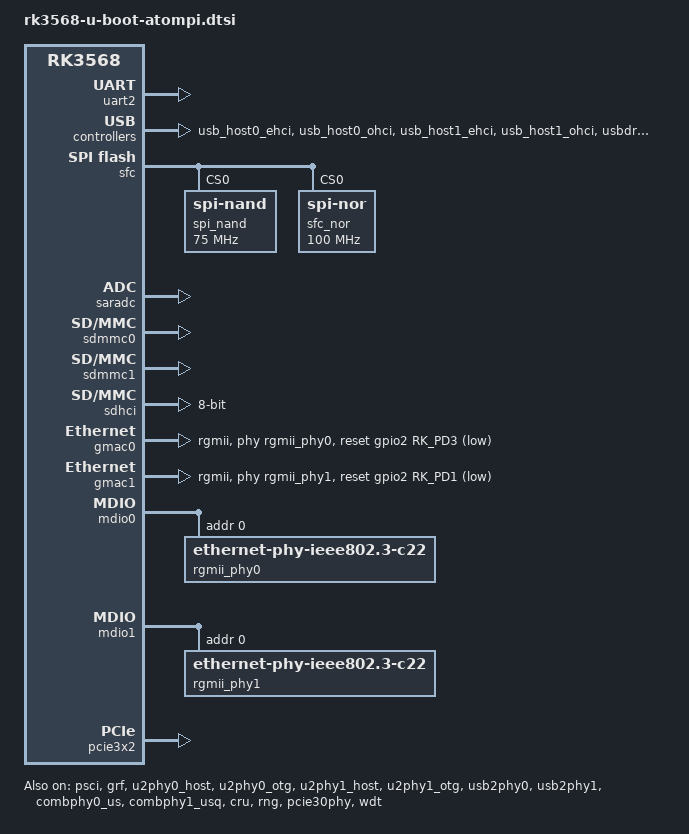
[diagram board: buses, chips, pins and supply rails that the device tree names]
/*
 * (C) Copyright 2020 Rockchip Electronics Co., Ltd
 *
 * SPDX-License-Identifier:     GPL-2.0+
 */

/ {
	aliases {
		ethernet0 = &gmac0;
		ethernet1 = &gmac1;
		mmc0 = &sdhci;
		mmc1 = &sdmmc0;
		mmc2 = &sdmmc1;
	};

	chosen {
		stdout-path = &uart2;
		u-boot,spl-boot-order = &sdmmc0, &sdhci, &spi_nand, &spi_nor;
	};

	secure-otp@fe3a0000 {
		compatible = "rockchip,rk3568-secure-otp";
		reg = <0x0 0xfe3a0000 0x0 0x4000>;
		secure_conf = <0xfdd18008>;
		mask_addr = <0xfe880000>;
		cru_rst_addr = <0xfdd20470>;
		u-boot,dm-spl;
	};

	otp: otp@fe38c000 {
		compatible = "rockchip,rk3568-otp";
		reg = <0x0 0xfe38c000 0x0 0x4000>;
		#address-cells = <1>;
		#size-cells = <1>;
		clocks = <&cru CLK_OTPC_NS_USR>, <&cru CLK_OTPC_NS_SBPI>,
			 <&cru PCLK_OTPC_NS>, <&cru PCLK_OTPPHY>;
		clock-names = "usr", "sbpi", "apb", "phy";
		resets = <&cru SRST_OTPPHY>;
		reset-names = "otp_phy";

		/* Data cells */
		cpu_code: cpu-code@2 {
			reg = <0x02 0x2>;
		};
		otp_cpu_version: cpu-version@8 {
			reg = <0x08 0x1>;
			bits = <3 3>;
		};
		mbist_vmin: mbist-vmin@9 {
			reg = <0x09 0x1>;
			bits = <0 4>;
		};
		otp_id: id@a {
			reg = <0x0a 0x10>;
		};
		cpu_leakage: cpu-leakage@1a {
			reg = <0x1a 0x1>;
		};
		log_leakage: log-leakage@1b {
			reg = <0x1b 0x1>;
		};
		npu_leakage: npu-leakage@1c {
			reg = <0x1c 0x1>;
		};
		gpu_leakage: gpu-leakage@1d {
			reg = <0x1d 0x1>;
		};
		core_pvtm:core-pvtm@2a {
			reg = <0x2a 0x2>;
		};
		cpu_tsadc_trim_l: cpu-tsadc-trim-l@2e {
			reg = <0x2e 0x1>;
		};
		cpu_tsadc_trim_h: cpu-tsadc-trim-h@2f {
			reg = <0x2f 0x1>;
			bits = <0 4>;
		};
		gpu_tsadc_trim_l: npu-tsadc-trim-l@30 {
			reg = <0x30 0x1>;
		};
		gpu_tsadc_trim_h: npu-tsadc-trim-h@31 {
			reg = <0x31 0x1>;
			bits = <0 4>;
		};
		tsadc_trim_base_frac: tsadc-trim-base-frac@31 {
			reg = <0x31 0x1>;
			bits = <4 4>;
		};
		tsadc_trim_base: tsadc-trim-base@32 {
			reg = <0x32 0x1>;
		};
		cpu_opp_info: cpu-opp-info@36 {
			reg = <0x36 0x6>;
		};
		gpu_opp_info: gpu-opp-info@3c {
			reg = <0x3c 0x6>;
		};
		npu_opp_info: npu-opp-info@42 {
			reg = <0x42 0x6>;
		};
		dmc_opp_info: dmc-opp-info@48 {
			reg = <0x48 0x6>;
		};
	};

	firmware {
		scmi: scmi {
			compatible = "arm,scmi-smc";
			shmem = <&scmi_shmem>;
			arm,smc-id = <0x82000010>;
			#address-cells = <1>;
			#size-cells = <0>;

			scmi_clk: protocol@14 {
				reg = <0x14>;
				#clock-cells = <1>;

				rockchip,clk-init = <1104000000>;
			};
		};

		sdei: sdei {
			compatible = "arm,sdei-1.0";
			method = "smc";
		};
	};

	scmi_shmem: scmi-shmem@10f000 {
		compatible = "arm,scmi-shmem";
		reg = <0x0 0x0010f000 0x0 0x100>;
	};
};

&psci {
	status = "okay";
};

&crypto {
	u-boot,dm-spl;
};

&uart2 {
	clock-frequency = <24000000>;
	u-boot,dm-spl;
	/delete-property/ pinctrl-names;
	/delete-property/ pinctrl-0;
	status = "okay";
};

&grf {
	u-boot,dm-spl;
	status = "okay";
};

&pmugrf {
	u-boot,dm-spl;
	status = "okay";
};

&u2phy0_host {
	phy-supply = <&vcc5v0_host>;
	status = "okay";
};

&u2phy0_otg {
	vbus-supply = <&vcc5v0_otg>;
	status = "okay";
};

&u2phy1_host {
	phy-supply = <&vcc5v0_host>;
	status = "okay";
};

&u2phy1_otg {
	phy-supply = <&vcc5v0_host>;
	status = "okay";
};

&usb2phy0 {
	status = "okay";
};

&usb2phy1 {
	status = "okay";
};

&usb_host0_ehci {
	status = "okay";
};

&usb_host0_ohci {
	status = "okay";
};

&usb_host1_ehci {
	status = "okay";
};

&usb_host1_ohci {
	status = "okay";
};

&usbdrd_dwc3 {
	status = "okay";
};

&usbdrd30 {
	status = "okay";
};

&usbhost_dwc3 {
	status = "okay";
};

&usbhost30 {
	status = "okay";
};

&combphy0_us {
	status = "okay";
};

&combphy1_usq {
	status = "okay";
};

&cru {
	u-boot,dm-spl;
	status = "okay";
};

&pmucru {
	u-boot,dm-spl;
	status = "okay";
};

&rng {
	
	status = "okay";
};

&sfc {
	u-boot,dm-spl;
	/delete-property/ pinctrl-names;
	/delete-property/ pinctrl-0;
	/delete-property/ assigned-clocks;
	/delete-property/ assigned-clock-rates;
	status = "okay";

	#address-cells = <1>;
	#size-cells = <0>;
	spi_nand: flash@0 {
		u-boot,dm-spl;
		compatible = "spi-nand";
		reg = <0>;
		spi-tx-bus-width = <1>;
		spi-rx-bus-width = <4>;
		spi-max-frequency = <75000000>;
	};

	spi_nor: flash@1 {
		u-boot,dm-spl;
		compatible = "jedec,spi-nor";
		label = "sfc_nor";
		reg = <0>;
		spi-tx-bus-width = <1>;
		spi-rx-bus-width = <4>;
		spi-max-frequency = <100000000>;
	};
};

&saradc {
	
	status = "okay";
};

&sdmmc0 {
	u-boot,dm-spl;
	status = "okay";
};

&sdmmc0_pins {
	u-boot,dm-spl;
};

&sdmmc0_bus4 {
	u-boot,dm-spl;
};

&sdmmc0_clk {
	u-boot,dm-spl;
};

&sdmmc0_cmd {
	u-boot,dm-spl;
};

&sdmmc0_det {
	u-boot,dm-spl;
};

&sdmmc1 {
	u-boot,dm-spl;
	/delete-property/ pinctrl-names;
	/delete-property/ pinctrl-0;
	status = "okay";
};

&sdhci {
	bus-width = <8>;
	u-boot,dm-spl;
	/delete-property/ pinctrl-names;
	/delete-property/ pinctrl-0;
	mmc-hs200-1_8v;
	status = "okay";
};

&gmac0_clkin {
	
};

&gmac1_clkin {
	
};

&gmac0 {
	
	phy-mode = "rgmii";
	clock_in_out = "output";

	snps,reset-gpio = <&gpio2 RK_PD3 GPIO_ACTIVE_LOW>;
	snps,reset-active-low;
	/* Reset time is 20ms, 100ms for rtl8211f */
	snps,reset-delays-us = <0 20000 100000>;
	assigned-clocks = <&cru SCLK_GMAC0_RX_TX>, <&cru SCLK_GMAC0>;
	assigned-clock-parents = <&cru SCLK_GMAC0_RGMII_SPEED>;
	assigned-clock-rates = <0>, <125000000>;

	pinctrl-names = "default";
	pinctrl-0 = <&gmac0_miim
		     &gmac0_tx_bus2
		     &gmac0_rx_bus2
		     &gmac0_rgmii_clk
		     &gmac0_rgmii_bus>;

	tx_delay = <0x3c>;
	rx_delay = <0x2f>;

	phy-handle = <&rgmii_phy0>;
	status = "okay";
};

&gmac1 {
	
	phy-mode = "rgmii";
	clock_in_out = "output";

	snps,reset-gpio = <&gpio2 RK_PD1 GPIO_ACTIVE_LOW>;
	snps,reset-active-low;
	/* Reset time is 20ms, 100ms for rtl8211f */
	snps,reset-delays-us = <0 20000 100000>;

	assigned-clocks = <&cru SCLK_GMAC1_RX_TX>, <&cru SCLK_GMAC1>;
	assigned-clock-parents = <&cru SCLK_GMAC1_RGMII_SPEED>;
	assigned-clock-rates = <0>, <125000000>;

	pinctrl-names = "default";
	pinctrl-0 = <&gmac1m1_miim
		     &gmac1m1_tx_bus2
		     &gmac1m1_rx_bus2
		     &gmac1m1_rgmii_clk
		     &gmac1m1_rgmii_bus>;

	tx_delay = <0x4f>;
	rx_delay = <0x26>;

	phy-handle = <&rgmii_phy1>;
	status = "okay";
};

&gmac0_stmmac_axi_setup {
	
};

&gmac0_mtl_rx_setup {
	
	queue0 {
		
	};
};

&gmac0_mtl_tx_setup {
	
	queue0 {
		
	};
};

&gmac1_stmmac_axi_setup {
	
};

&gmac1_mtl_rx_setup {
	
	queue0 {
		
	};
};

&gmac1_mtl_tx_setup {
	
	queue0 {
		
	};
};

&mdio0 {
	
	rgmii_phy0: phy@0 {
		compatible = "ethernet-phy-ieee802.3-c22";
		
		reg = <0x0>;
	};
};

&mdio1 {
	
	rgmii_phy1: phy@0 {
		compatible = "ethernet-phy-ieee802.3-c22";
		
		reg = <0x0>;
	};
};

&gmac0_miim {
	
};

&gmac0_clkinout {
	
};

&gmac0_rx_bus2 {
	
};

&gmac0_tx_bus2 {
	
};

&gmac0_rgmii_clk {
	
};

&gmac0_rgmii_bus {
	
};

&gmac1m1_miim {
	
};

&gmac1m1_clkinout {
	
};

&gmac1m1_rx_bus2 {
	
};

&gmac1m1_tx_bus2 {
	
};

&gmac1m1_rgmii_clk {
	
};

&gmac1m1_rgmii_bus {
	
};

&eth0_clkout_pins {
	
};

&eth1m1_clkout_pins {
	
};

&pcie30phy {
	
	status = "okay";
};

&pcie3x2 {
	
	status = "okay";
};

&pinctrl {
	u-boot,dm-spl;
	status = "okay";
};

&gpio0 {
	u-boot,dm-spl;
};

&gpio1 {
	u-boot,dm-spl;
};

&gpio2 {
	u-boot,dm-spl;
};

&pcfg_pull_none_drv_level_1 {
	u-boot,dm-spl;
};

&pcfg_pull_none_drv_level_2 {
	u-boot,dm-spl;
};


&pcfg_pull_up_drv_level_1 {
	u-boot,dm-spl;
};

&pcfg_pull_up_drv_level_2 {
	u-boot,dm-spl;
};

&pcfg_pull_up {
	u-boot,dm-spl;
};

&pcfg_pull_none {
	u-boot,dm-spl;
};

&wdt {
	
	status = "okay";
};


